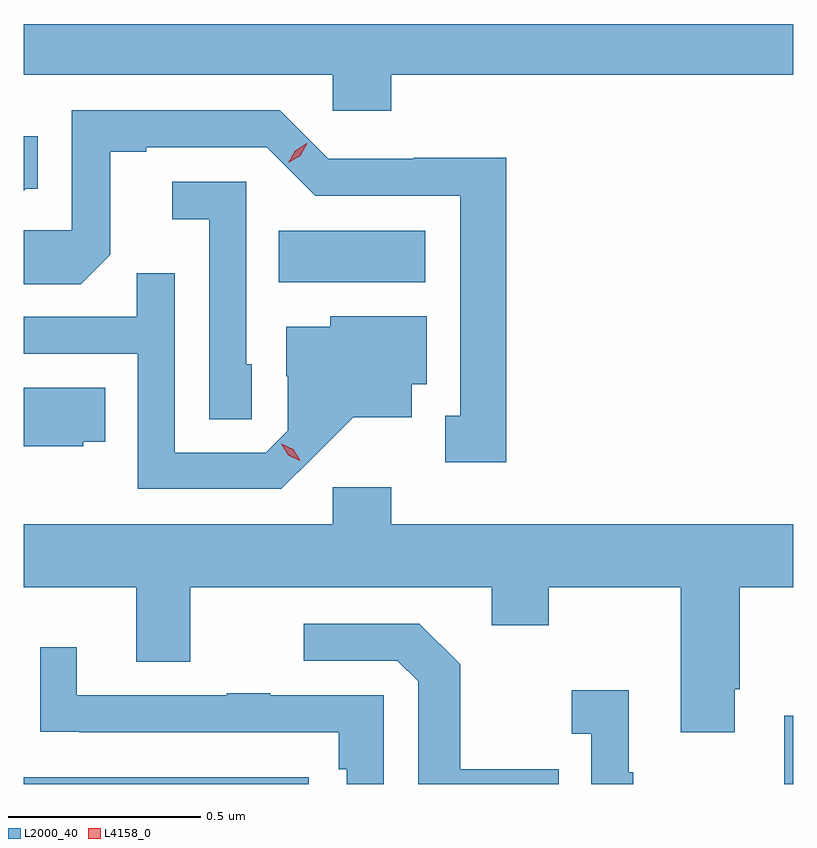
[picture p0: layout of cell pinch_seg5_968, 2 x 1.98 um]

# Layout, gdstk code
import gdstk
lib = gdstk.Library(unit=1e-6, precision=1e-09)
def R(c, l, rs):  # rectangles x0, y0, x1, y1
    for r in rs: c.add(gdstk.rectangle(r[:2], r[2:], *l))
def P(c, l, *ps):  # polygons
    for p in ps: c.add(gdstk.Polygon(p, *l))
L2000_40 = (2000, 40)
L4158_0 = (4158, 0)

pinch_seg5_968 = lib.new_cell('pinch_seg5_968')
R(pinch_seg5_968, L2000_40, [(731.887,913.524,732.628,913.542), (733.864,913.524,733.887,913.702), (732.55,914.828,732.931,914.962)])
P(pinch_seg5_968, L2000_40, [(732.842,915.368),(733.887,915.368),(733.887,915.5),(731.887,915.5),(731.887,915.368),(732.69,915.368),(732.69,915.275),(732.842,915.275)],
  [(733.141,915.152),(732.9,915.152),(732.9,915.15),(732.678,915.15),(732.552,915.276),(732.012,915.276),(732.012,914.964),(731.887,914.964),(731.887,914.824),(732.035,914.824),(732.111,914.9),(732.111,915.168),(732.205,915.168),(732.205,915.18),(732.519,915.18),(732.645,915.054),(733.022,915.054),(733.022,914.481),(732.983,914.481),(732.983,914.361),(733.141,914.361)],
  [(731.892,915.072),(731.923,915.072),(731.923,915.208),(731.887,915.208),(731.887,915.067)],
  [(732.48,914.616),(732.465,914.616),(732.465,915.09),(732.273,915.09),(732.273,914.993),(732.369,914.993),(732.369,914.473),(732.48,914.473)],
  [(732.64,914.375),(732.743,914.477),(732.895,914.477),(732.895,914.564),(732.934,914.564),(732.934,914.74),(732.684,914.74),(732.684,914.713),(732.569,914.713),(732.569,914.584),(732.573,914.584),(732.573,914.442),(732.516,914.385),(732.279,914.385),(732.279,914.852),(732.181,914.852),(732.181,914.739),(731.887,914.739),(731.887,914.643),(732.183,914.643),(732.183,914.292),(732.556,914.292)],
  [(732.042,914.414),(732.098,914.414),(732.098,914.554),(731.887,914.554),(731.887,914.402),(732.042,914.402)],
  [(733.735,913.771),(733.748,913.771),(733.748,914.036),(733.887,914.036),(733.887,914.2),(732.842,914.2),(732.842,914.296),(732.69,914.296),(732.69,914.2),(731.887,914.2),(731.887,914.036),(732.179,914.036),(732.179,913.842),(732.319,913.842),(732.319,914.036),(733.103,914.036),(733.103,913.937),(733.251,913.937),(733.251,914.036),(733.595,914.036),(733.595,913.659),(733.735,913.659)],
  [(733.277,913.563),(733.021,913.563),(733.021,913.835),(732.915,913.941),(732.615,913.941),(732.615,913.845),(732.858,913.845),(732.912,913.791),(732.912,913.524),(733.277,913.524)],
  [(732.822,913.755),(732.527,913.755),(732.527,913.76),(732.415,913.76),(732.415,913.755),(732.025,913.755),(732.025,913.879),(731.929,913.879),(731.929,913.66),(732.031,913.66),(732.031,913.659),(732.706,913.659),(732.706,913.562),(732.726,913.562),(732.726,913.524),(732.822,913.524)],
  [(733.471,913.555),(733.459,913.555),(733.459,913.768),(733.311,913.768),(733.311,913.655),(733.362,913.655),(733.362,913.524),(733.471,913.524)])
P(pinch_seg5_968, L4158_0, [(732.574,915.139),(732.574,915.139),(732.592,915.171),(732.623,915.19),(732.624,915.19),(732.624,915.19),(732.606,915.157),(732.574,915.139)],
  [(732.604,914.364),(732.574,914.379),(732.556,914.409),(732.556,914.409),(732.556,914.409),(732.587,914.394),(732.605,914.364),(732.605,914.364)])

lib.write_gds('pinch_seg5_968.gds')
